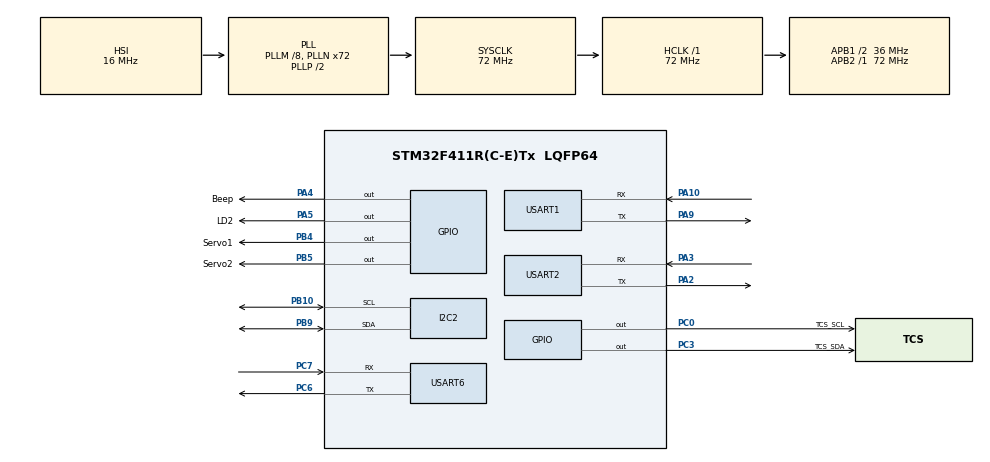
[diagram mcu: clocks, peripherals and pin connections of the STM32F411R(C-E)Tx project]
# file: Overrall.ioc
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Mcu.Family=STM32F4
Mcu.Name=STM32F411R(C-E)Tx
Mcu.Package=LQFP64
NVIC.PriorityGroup=NVIC_PRIORITYGROUP_4
NVIC.TIM1_UP_TIM10_IRQn=true\:0\:0\:false\:false\:true\:true\:true\:true
NVIC.USART1_IRQn=true\:0\:0\:false\:false\:true\:true\:true\:true
NVIC.USART6_IRQn=true\:0\:0\:false\:false\:true\:true\:true\:true
PA10.Mode=Asynchronous
PA10.Signal=USART1_RX
PA13.Mode=Serial_Wire
PA13.Signal=SYS_JTMS-SWDIO
PA14.Mode=Serial_Wire
PA14.Signal=SYS_JTCK-SWCLK
PA2.Mode=Asynchronous
PA2.Signal=USART2_TX
PA3.Mode=Asynchronous
PA3.Signal=USART2_RX
PA4.GPIO_Label=Beep
PA4.Signal=GPIO_Output
PA5.GPIO_Label=LD2
PA5.Signal=GPIO_Output
PA9.Mode=Asynchronous
PA9.Signal=USART1_TX
PB10.Mode=I2C
PB10.Signal=I2C2_SCL
PB4.GPIO_Label=Servo1
PB4.PinState=GPIO_PIN_SET
PB4.Signal=GPIO_Output
PB5.GPIO_Label=Servo2
PB5.PinState=GPIO_PIN_SET
PB5.Signal=GPIO_Output
PB9.Mode=I2C
PB9.Signal=I2C2_SDA
PC0.GPIO_Label=TCS_SCL
PC0.GPIO_PuPd=GPIO_PULLUP
PC0.GPIO_Speed=GPIO_SPEED_FREQ_VERY_HIGH
PC0.Signal=GPIO_Output
PC14-OSC32_IN.Mode=LSE-External-Oscillator
PC14-OSC32_IN.Signal=RCC_OSC32_IN
PC15-OSC32_OUT.Mode=LSE-External-Oscillator
PC15-OSC32_OUT.Signal=RCC_OSC32_OUT
PC3.GPIO_Label=TCS_SDA
PC3.GPIO_PuPd=GPIO_PULLUP
PC3.GPIO_Speed=GPIO_SPEED_FREQ_VERY_HIGH
PC3.Signal=GPIO_Output
PC6.Mode=Asynchronous
PC6.Signal=USART6_TX
PC7.Mode=Asynchronous
PC7.Signal=USART6_RX
PH0\ -\ OSC_IN.Mode=HSE-External-Oscillator
PH0\ -\ OSC_IN.Signal=RCC_OSC_IN
PH1\ -\ OSC_OUT.Mode=HSE-External-Oscillator
PH1\ -\ OSC_OUT.Signal=RCC_OSC_OUT
ProjectManager.HeapSize=0x200
ProjectManager.StackSize=0x400
ProjectManager.TargetToolchain=MDK-ARM V5
RCC.48MHZClocksFreq_Value=36000000
RCC.AHBFreq_Value=72000000
RCC.APB1CLKDivider=RCC_HCLK_DIV2
RCC.APB1Freq_Value=36000000
RCC.APB1TimFreq_Value=72000000
RCC.APB2Freq_Value=72000000
RCC.APB2TimFreq_Value=72000000
RCC.CortexFreq_Value=72000000
RCC.HCLKFreq_Value=72000000
RCC.HSE_VALUE=25000000
RCC.HSI_VALUE=16000000
RCC.PLLM=8
RCC.PLLN=72
RCC.SYSCLKFreq_VALUE=72000000
RCC.SYSCLKSource=RCC_SYSCLKSOURCE_PLLCLK
RCC.VCOOutputFreq_Value=144000000
TIM1.AutoReloadPreload=TIM_AUTORELOAD_PRELOAD_ENABLE
TIM1.Period=20000-1
TIM1.Prescaler=72-1
TIM2.Period=1
TIM2.Prescaler=71
USART1.VirtualMode=VM_ASYNC
USART2.VirtualMode=VM_ASYNC
USART6.VirtualMode=VM_ASYNC
VP_TIM1_VS_ClockSourceINT.Mode=Internal
VP_TIM2_VS_ClockSourceINT.Mode=Internal
board=custom

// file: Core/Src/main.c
/* USER CODE BEGIN Header */
/**
 ******************************************************************************
 * @file           : main.c
 * @brief          : Main program body
 ******************************************************************************
 * @attention
 *
 * Copyright (c) 2023 STMicroelectronics.
 * All rights reserved.
 *
 * This software is licensed under terms that can be found in the LICENSE file
 * in the root directory of this software component.
 * If no LICENSE file comes with this software, it is provided AS-IS.
 *
 ******************************************************************************
 */
/* USER CODE END Header */
#include "main.h"
#include "i2c.h"
#include "tim.h"
#include "usart.h"
#include "gpio.h"

/* USER CODE BEGIN Includes */
#include "stdio.h"
#include "TCS34725.h"
#include "Vl6180x.h"
#include "cJSON.h"
#include "string.h"
/* USER CODE END Includes */

/* USER CODE BEGIN PV */
uint8_t distance = 0;
int count = 0;
COLOR_RGBC rgb;
COLOR_HSL hsl;
uint8_t g_ucUsart1ReceiveData;
uint8_t g_ucUsart6ReceiveData;
uint8_t cmd = 0;
uint8_t rxBuffer[RX_BUFFER_SIZE];
uint32_t rxBufferIndex = 0;

char RxBuffer[RXBUFFERSIZE]; // 接收数据
uint8_t aRxBuffer;           // 接收中断缓冲
uint8_t Uart1_Rx_Cnt = 0;    // 接收缓冲计数

int flag = 0;
/* USER CODE END PV */

void SystemClock_Config(void);
/* USER CODE BEGIN PFP */
void L610_Init(void);
void beepOn(void);
void beepOff(void);
/* USER CODE END PFP */

int main(void)
{

  /* MCU Configuration--------------------------------------------------------*/

  /* Reset of all peripherals, Initializes the Flash interface and the Systick. */
  HAL_Init();

  /* Configure the system clock */
  SystemClock_Config();

  /* Initialize all configured peripherals */
  MX_GPIO_Init();
  MX_USART1_UART_Init();
  MX_I2C2_Init();
  MX_TIM1_Init();
  MX_USART2_UART_Init();
  MX_TIM2_Init();
  MX_USART6_UART_Init();
  /* USER CODE BEGIN 2 */
  HAL_TIM_Base_Start_IT(&htim1);
  HAL_UART_Receive_IT(&huart1, &g_ucUsart1ReceiveData, 1);
  // HAL_UART_Receive_IT(&huart6, &g_ucUsart6ReceiveData, 1);
  HAL_UART_Receive_IT(&huart6, &g_ucUsart6ReceiveData, 1);
  /* USER CODE END 2 */

  /* Infinite loop */
  /* USER CODE BEGIN WHILE */
  if (VL6180X_GetID() == VL6180X_DEFAULT_ID)
    VL6180X_Init();
  while (!TCS34725_Init())
  {
    printf("Color Sensor Init Error!\r\n");
  }
  while (1)
  {
    if (flag == 0)
    {
      HAL_Delay(20);
      L610_Init();
      flag = 1;
      HAL_GPIO_WritePin(Servo1_GPIO_Port, Servo1_Pin, 1); // LeftClose
      HAL_GPIO_WritePin(Servo2_GPIO_Port, Servo2_Pin, 1); // LeftClose
    }
    distance = VL6180X_GetRange();
    TCS34725_GetRawData(&rgb);
    printf("distance: %d mm;\t\tr: %d, g: %d, b: %d\r\n", distance, rgb.r, rgb.g, rgb.b);
    HAL_GPIO_TogglePin(LD2_GPIO_Port, LD2_Pin);
    HAL_Delay(1500);
    if (distance < 100)
    {
      beepOn();
      HAL_Delay(300);
      beepOff();
      HAL_Delay(100);
    }

    // HAL_UART_Receive_IT(&huart6, (uint8_t *)&cmd, 1);
    /* USER CODE END WHILE */

  }
}

void SystemClock_Config(void)
{
  RCC_OscInitTypeDef RCC_OscInitStruct = {0};
  RCC_ClkInitTypeDef RCC_ClkInitStruct = {0};

  /** Configure the main internal regulator output voltage
   */
  __HAL_RCC_PWR_CLK_ENABLE();
  __HAL_PWR_VOLTAGESCALING_CONFIG(PWR_REGULATOR_VOLTAGE_SCALE1);

  /** Initializes the RCC Oscillators according to the specified parameters
   * in the RCC_OscInitTypeDef structure.
   */
  RCC_OscInitStruct.OscillatorType = RCC_OSCILLATORTYPE_HSI;
  RCC_OscInitStruct.HSIState = RCC_HSI_ON;
  RCC_OscInitStruct.HSICalibrationValue = RCC_HSICALIBRATION_DEFAULT;
  RCC_OscInitStruct.PLL.PLLState = RCC_PLL_ON;
  RCC_OscInitStruct.PLL.PLLSource = RCC_PLLSOURCE_HSI;
  RCC_OscInitStruct.PLL.PLLM = 8;
  RCC_OscInitStruct.PLL.PLLN = 72;
  RCC_OscInitStruct.PLL.PLLP = RCC_PLLP_DIV2;
  RCC_OscInitStruct.PLL.PLLQ = 4;
  if (HAL_RCC_OscConfig(&RCC_OscInitStruct) != HAL_OK)
  {
    Error_Handler();
  }

  /** Initializes the CPU, AHB and APB buses clocks
   */
  RCC_ClkInitStruct.ClockType = RCC_CLOCKTYPE_HCLK | RCC_CLOCKTYPE_SYSCLK | RCC_CLOCKTYPE_PCLK1 | RCC_CLOCKTYPE_PCLK2;
  RCC_ClkInitStruct.SYSCLKSource = RCC_SYSCLKSOURCE_PLLCLK;
  RCC_ClkInitStruct.AHBCLKDivider = RCC_SYSCLK_DIV1;
  RCC_ClkInitStruct.APB1CLKDivider = RCC_HCLK_DIV2;
  RCC_ClkInitStruct.APB2CLKDivider = RCC_HCLK_DIV1;

  if (HAL_RCC_ClockConfig(&RCC_ClkInitStruct, FLASH_LATENCY_2) != HAL_OK)
  {
    Error_Handler();
  }
}

/* USER CODE BEGIN 4 */
void HAL_TIM_PeriodElapsedCallback(TIM_HandleTypeDef *htim)
{
  if (htim == &htim1) // htim1 50HZ 20ms
  {
  }
}
void L610_Init()
{
  HAL_UART_Transmit(&huart6, (uint8_t *)"AT+MIPCALL=1\r\n", sizeof("AT+MIPCALL=1\r\n\r\n"), 0xFFFF);
  HAL_Delay(10);
  HAL_UART_Transmit(&huart6, (uint8_t *)"AT+TCDEVINFOSET=1,\"7WB0TXD3D0\",\"servo_01\",\"tMamURuuJjVpBLXCdh13rw==\"\r\n", sizeof("AT+TCDEVINFOSET=1,\"7WB0TXD3D0\",\"servo_01\",\"tMamURuuJjVpBLXCdh13rw==\"\r\n"), 0xFFFF);
  HAL_Delay(10);
  HAL_UART_Transmit(&huart6, (uint8_t *)"AT+TCMQTTCONN=1,20000,240,1,1\r\n", sizeof("AT+TCMQTTCONN=1,20000,240,1,1\r\n"), 0xFFFF);
  HAL_Delay(10);
  HAL_UART_Transmit(&huart6, (uint8_t *)"AT+TCMQTTSUB=\"$thing/down/property/7WB0TXD3D0/servo_01\",1\r\n", sizeof("AT+TCMQTTSUB=\"$thing/down/property/7WB0TXD3D0/servo_01\",1\r\n"), 0xFFFF);
  HAL_Delay(10);
}
void beepOn(void)
{
  HAL_GPIO_WritePin(Beep_GPIO_Port, Beep_Pin, 1);
}
void beepOff(void)
{
  HAL_GPIO_WritePin(Beep_GPIO_Port, Beep_Pin, 0);
}
/* USER CODE END 4 */

void Error_Handler(void)
{
  __disable_irq();
  while (1)
  {
  }
}
